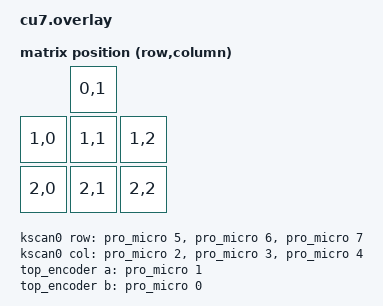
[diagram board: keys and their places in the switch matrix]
#include <dt-bindings/zmk/matrix_transform.h>

/ {
    chosen {
        zmk,kscan = &kscan0;
        zmk,matrix_transform = &default_transform;
    };

    default_transform: keymap_transform_0 {
        compatible = "zmk,matrix-transform";
        columns = <3>;
        rows = <3>;

        map = <
        RC(0,1) 
RC(1,0) RC(1,1) RC(1,2)
RC(2,0) RC(2,1) RC(2,2)
        >;
    };

    kscan0: kscan {
        compatible = "zmk,kscan-gpio-matrix";
        label = "KSCAN";

        diode-direction = "col2row";

        col-gpios
            = <&pro_micro 2 GPIO_ACTIVE_HIGH>
            , <&pro_micro 3 GPIO_ACTIVE_HIGH>
            , <&pro_micro 4 GPIO_ACTIVE_HIGH>
            ;

        row-gpios
            = <&pro_micro 5 (GPIO_ACTIVE_HIGH | GPIO_PULL_DOWN)>
            , <&pro_micro 6 (GPIO_ACTIVE_HIGH | GPIO_PULL_DOWN)>
            , <&pro_micro 7 (GPIO_ACTIVE_HIGH | GPIO_PULL_DOWN)>
            ;
    };

        top_encoder: encoder_top {
            compatible = "alps,ec11";
            label = "top_encoder";
            a-gpios = <&pro_micro 1 (GPIO_ACTIVE_HIGH | GPIO_PULL_UP)>;
            b-gpios = <&pro_micro 0 (GPIO_ACTIVE_HIGH | GPIO_PULL_UP)>;
            resolution = <1>;
            status = "disabled";
    };

    sensors {
        compatible = "zmk,keymap-sensors";
        sensors = <&top_encoder>;
    };
};
